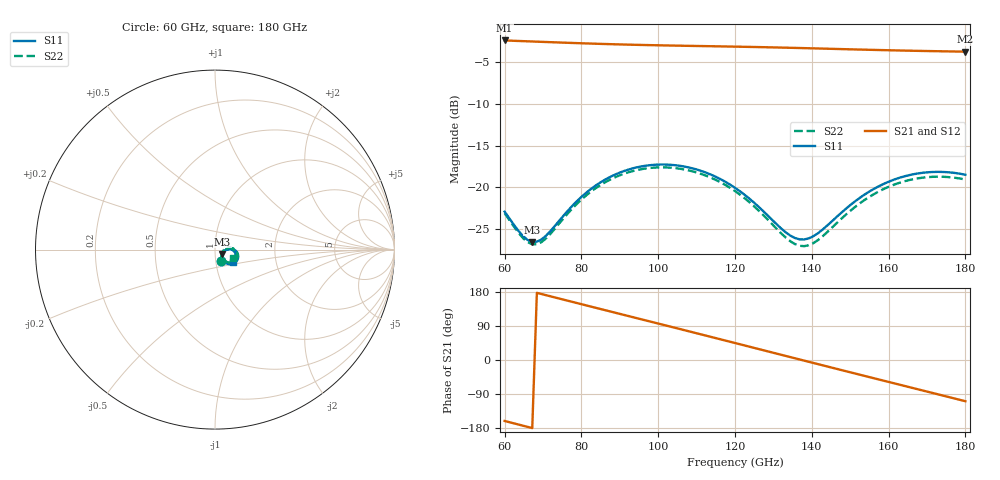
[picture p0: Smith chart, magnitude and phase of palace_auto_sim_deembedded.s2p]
! Created with skrf 1.11.0 (http://scikit-rf.org).
# GHz S DB R 50.0
!freq dBS11 angS11 dBS21 angS21 dBS12 angS12 dBS22 angS22
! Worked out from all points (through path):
!   101 points, 60 GHz to 180 GHz, reference 50 ohm
!   highest |S21| = -2.41 dB at 60 GHz (marker M1); lowest = -3.8 dB at 180 GHz (marker M2)
!   group delay of S21, straight-line fit = 7.13 ps
!   lowest |S11| = -26.5 dB at 67.2 GHz (marker M3), VSWR 1.10, Z = 54.1 - j2.72 ohm
!   |S11| at or under -10 dB: start of sweep to end of sweep
!   |S22| runs from -27.0 to -17.6 dB; largest |S21 - S12| = 8e-14
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60  -22.89 -61.6  -2.41 -160.9  -2.41 -160.9  -23.08 -60.2
64.8  -25.81 -45.9  -2.49 -173.4  -2.49 -173.4  -26.06 -44.4
67.2  -26.51 -32.0  -2.54 -179.6  -2.54 -179.6  -26.79 -30.4
70.8  -25.76 -11.9  -2.60 171.0  -2.60 171.0  -26.08 -9.7
75.6  -23.23 1.3  -2.68 158.6  -2.68 158.6  -23.55 3.9
80.4  -20.96 2.9  -2.75 146.3  -2.75 146.3  -21.28 5.8
85.2  -19.32 -0.7  -2.82 134.0  -2.82 134.0  -19.64 2.5
91.2  -18.01 -8.3  -2.90 118.7  -2.90 118.7  -18.34 -4.9
96  -17.45 -15.6  -2.95 106.4  -2.95 106.4  -17.78 -12.0
100.8  -17.25 -23.3  -3.00 94.1  -3.00 94.1  -17.59 -19.5
105.6  -17.40 -31.0  -3.04 81.9  -3.04 81.9  -17.75 -27.1
110.4  -17.90 -38.5  -3.08 69.6  -3.08 69.6  -18.26 -34.4
120  -20.04 -50.3  -3.15 44.8  -3.15 44.8  -20.43 -46.0
127.2  -22.76 -52.0  -3.22 26.3  -3.22 26.3  -23.22 -47.9
134.4  -25.75 -37.7  -3.29 7.7  -3.29 7.7  -26.43 -33.5
138  -26.22 -23.2  -3.33 -1.6  -3.33 -1.6  -27.02 -18.2
140.4  -25.83 -13.9  -3.36 -7.8  -3.36 -7.8  -26.66 -8.0
150  -22.11 1.3  -3.47 -32.4  -3.47 -32.4  -22.80 8.8
160.8  -19.17 -6.9  -3.59 -59.9  -3.59 -59.9  -19.77 1.1
170.4  -18.17 -20.2  -3.68 -84.3  -3.68 -84.3  -18.75 -12.0
175.2  -18.17 -27.3  -3.72 -96.5  -3.72 -96.5  -18.74 -18.9
180  -18.47 -34.1  -3.75 -108.8  -3.75 -108.8  -19.05 -25.7
